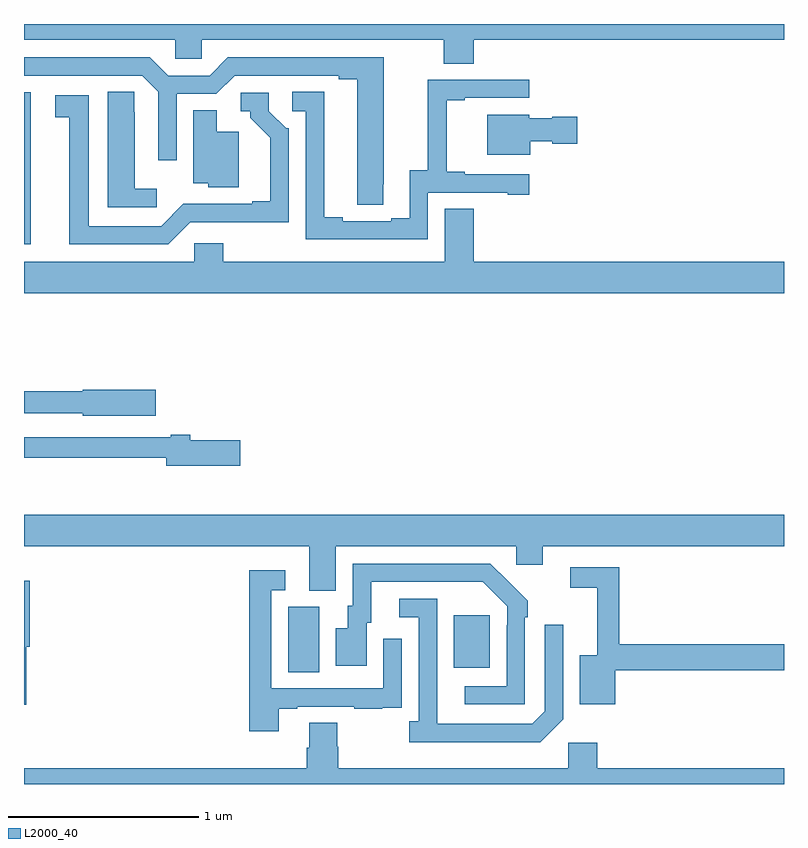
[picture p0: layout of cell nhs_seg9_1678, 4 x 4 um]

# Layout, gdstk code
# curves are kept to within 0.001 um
import gdstk
lib = gdstk.Library(unit=1e-6, precision=1e-09)
def R(c, l, rs):  # rectangles x0, y0, x1, y1
    for r in rs: c.add(gdstk.rectangle(r[:2], r[2:], *l))
def P(c, l, *ps):  # polygons
    for p in ps: c.add(gdstk.Polygon(p, *l))
L2000_40 = (2000, 40)

nhs_seg9_1678 = lib.new_cell('nhs_seg9_1678')
R(nhs_seg9_1678, L2000_40, [(206.39,1197.088,206.554,1197.432), (207.263,1197.113,207.451,1197.388), (205,1199.34,205.036,1200.142)])
P(nhs_seg9_1678, L2000_40, [(205,1200.416),(205.797,1200.416),(205.797,1200.318),(205.935,1200.318),(205.935,1200.416),(207.208,1200.416),(207.208,1200.292),(207.368,1200.292),(207.368,1200.416),(209,1200.416),(209,1200.5),(205,1200.5)],
  [(206.892,1199.656),(206.893,1200.324),(206.073,1200.324),(205.977,1200.228),(205.759,1200.228),(205.663,1200.324),(205,1200.324),(205,1200.228),(205.623,1200.228),(205.707,1200.144),(205.707,1199.784),(205.803,1199.784),(205.803,1200.132),(206.013,1200.132),(206.109,1200.228),(206.657,1200.228),(206.657,1200.208),(206.753,1200.208),(206.753,1199.548),(206.892,1199.548)],
  [(207.126,1199.613),(207.545,1199.613),(207.545,1199.601),(207.658,1199.601),(207.658,1199.709),(207.319,1199.709),(207.319,1199.722),(207.224,1199.722),(207.224,1200.099),(207.319,1200.099),(207.319,1200.111),(207.658,1200.111),(207.658,1200.207),(207.124,1200.207),(207.124,1199.729),(207.029,1199.729),(207.029,1199.478),(206.933,1199.478),(206.933,1199.463),(206.677,1199.463),(206.677,1199.483),(206.581,1199.483),(206.581,1200.143),(206.412,1200.143),(206.412,1200.042),(206.484,1200.042),(206.484,1199.367),(207.126,1199.367)],
  [(205.699,1199.632),(205.582,1199.632),(205.582,1200.035),(205.581,1200.035),(205.581,1200.143),(205.442,1200.143),(205.442,1199.535),(205.699,1199.535)],
  [(205.875,1199.457),(206.394,1199.456),(206.394,1199.952),(206.379,1199.952),(206.289,1200.042),(206.289,1200.138),(206.142,1200.138),(206.142,1200.042),(206.192,1200.042),(206.192,1200.007),(206.297,1199.902),(206.297,1199.566),(206.201,1199.566),(206.201,1199.553),(205.839,1199.553),(205.722,1199.436),(205.342,1199.436),(205.342,1200.126),(205.164,1200.126),(205.164,1200.01),(205.238,1200.01),(205.238,1199.34),(205.758,1199.34)],
  [(206.131,1199.932),(206.014,1199.932),(206.014,1200.047),(205.892,1200.047),(205.892,1199.663),(205.971,1199.663),(205.971,1199.642),(206.131,1199.642)],
  [(207.664,1199.882),(207.78,1199.882),(207.78,1199.87),(207.913,1199.87),(207.913,1200.012),(207.78,1200.012),(207.78,1200.004),(207.66,1200.004),(207.66,1200.022),(207.437,1200.022),(207.437,1199.813),(207.664,1199.813)],
  [(209,1199.248),(207.368,1199.248),(207.368,1199.528),(207.215,1199.528),(207.215,1199.248),(206.048,1199.248),(206.048,1199.346),(205.896,1199.346),(205.896,1199.248),(205,1199.248),(205,1199.084),(209,1199.084)],
  [(205.693,1198.574),(205.308,1198.574),(205.308,1198.568),(205,1198.568),(205,1198.452),(205.308,1198.452),(205.308,1198.439),(205.693,1198.439)],
  [(206.137,1198.31),(205.876,1198.31),(205.876,1198.339),(205.772,1198.339),(205.772,1198.326),(205,1198.326),(205,1198.218),(205.748,1198.218),(205.748,1198.175),(206.137,1198.175)],
  [(206.641,1197.752),(207.591,1197.752),(207.591,1197.654),(207.73,1197.654),(207.73,1197.752),(209,1197.752),(209,1197.916),(205,1197.916),(205,1197.752),(206.501,1197.752),(206.501,1197.517),(206.641,1197.517)],
  [(207.636,1197.377),(207.651,1197.377),(207.651,1197.465),(207.454,1197.66),(206.73,1197.66),(206.73,1197.438),(206.705,1197.438),(206.705,1197.319),(206.642,1197.319),(206.642,1197.123),(206.803,1197.123),(206.803,1197.348),(206.827,1197.348),(206.827,1197.564),(207.415,1197.564),(207.543,1197.435),(207.543,1197.335),(207.54,1197.335),(207.54,1197.015),(207.321,1197.015),(207.321,1196.919),(207.636,1196.919)],
  [(208.113,1197.1),(209,1197.1),(209,1197.236),(208.133,1197.236),(208.133,1197.642),(207.876,1197.642),(207.876,1197.534),(208.016,1197.534),(208.016,1197.178),(207.926,1197.178),(207.926,1196.921),(208.113,1196.921)],
  [(206.341,1196.895),(206.437,1196.895),(206.437,1196.907),(206.737,1196.907),(206.737,1196.895),(206.885,1196.895),(206.885,1196.901),(206.987,1196.901),(206.987,1197.01),(206.988,1197.01),(206.988,1197.265),(206.892,1197.265),(206.892,1197.003),(206.301,1197.003),(206.301,1197.519),(206.374,1197.519),(206.374,1197.625),(206.185,1197.625),(206.185,1196.778),(206.341,1196.778)],
  [(205.013,1197.222),(205.031,1197.222),(205.031,1197.571),(205,1197.571),(205,1196.916),(205.013,1196.916)],
  [(207.837,1196.841),(207.837,1197.337),(207.741,1197.337),(207.741,1196.883),(207.675,1196.817),(207.175,1196.817),(207.174,1197.474),(206.976,1197.474),(206.976,1197.378),(207.078,1197.378),(207.078,1196.83),(207.027,1196.83),(207.027,1196.72),(207.716,1196.72)],
  [(209,1196.584),(208.016,1196.584),(208.016,1196.716),(207.864,1196.716),(207.864,1196.584),(206.654,1196.584),(206.654,1196.697),(206.649,1196.697),(206.649,1196.822),(206.501,1196.822),(206.501,1196.69),(206.489,1196.69),(206.489,1196.584),(205,1196.584),(205,1196.5),(209,1196.5)])

lib.write_gds('nhs_seg9_1678.gds')
